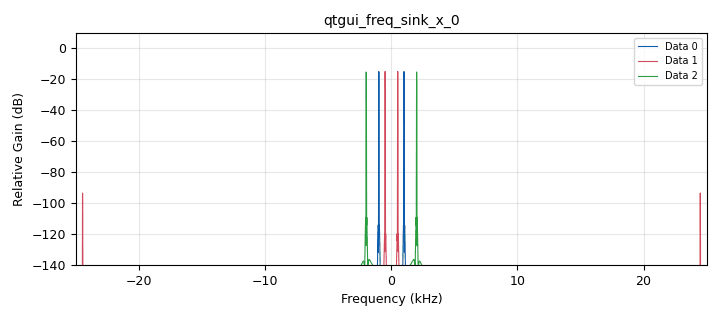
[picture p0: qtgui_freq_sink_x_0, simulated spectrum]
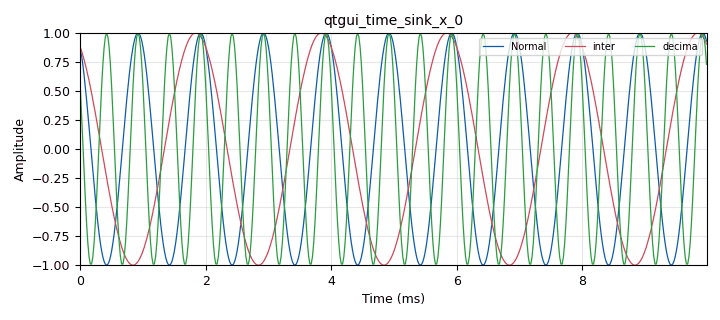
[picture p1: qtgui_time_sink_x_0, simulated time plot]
options:
  parameters:
    author: Elian Calderon - Michael
    copyright: Uis
    description: sgteheaheahetjarhr cambiar
    generate_options: qt_gui
    id: Practica1_Parte2
    output_language: python
    title: Diezmado e Interpolado
  states: {}

blocks:
- name: samp_rate
  id: variable
  parameters:
    value: '50000'
  states: {}
- name: analog_sig_source_x_0
  id: analog_sig_source_x
  parameters:
    amp: '1'
    freq: '1000'
    offset: '0'
    phase: '0'
    samp_rate: samp_rate
    type: float
    waveform: analog.GR_COS_WAVE
  states: {}
- name: analog_sig_source_x_0_0
  id: analog_sig_source_x
  parameters:
    amp: '1'
    freq: '1000'
    offset: '0'
    phase: '0'
    samp_rate: samp_rate
    type: float
    waveform: analog.GR_COS_WAVE
  states: {}
- name: analog_sig_source_x_0_0_0
  id: analog_sig_source_x
  parameters:
    amp: '1'
    freq: '1000'
    offset: '0'
    phase: '0'
    samp_rate: samp_rate
    type: float
    waveform: analog.GR_COS_WAVE
  states: {}
- name: blocks_throttle_0
  id: blocks_throttle
  parameters:
    samples_per_second: samp_rate
    type: float
  states: {}
- name: qtgui_freq_sink_x_0
  id: qtgui_freq_sink_x
  parameters:
    bw: samp_rate
    fc: '0'
    fftsize: 1024*8
    nconnections: '3'
    type: float
    wintype: firdes.WIN_BLACKMAN_hARRIS
  states: {}
- name: qtgui_time_sink_x_0
  id: qtgui_time_sink_x
  parameters:
    grid: 'True'
    label1: Normal
    label2: inter
    label3: decima
    nconnections: '3'
    size: '500'
    srate: samp_rate
    style1: '2'
    style2: '4'
    type: float
  states: {}
- name: rational_resampler_xxx_0
  id: rational_resampler_xxx
  parameters:
    decim: '1'
    fbw: '.1'
    interp: '2'
    taps: ''
    type: fff
  states: {}
- name: rational_resampler_xxx_0_0
  id: rational_resampler_xxx
  parameters:
    decim: '2'
    fbw: '0.1'
    interp: '1'
    taps: ''
    type: fff
  states: {}
- name: rational_resampler_xxx_0_0_0
  id: rational_resampler_xxx
  parameters:
    decim: '1'
    fbw: '0.1'
    interp: '1'
    taps: ''
    type: fff
  states: {}

connections:
- [analog_sig_source_x_0, '0', blocks_throttle_0, '0']
- [analog_sig_source_x_0_0, '0', rational_resampler_xxx_0, '0']
- [analog_sig_source_x_0_0_0, '0', rational_resampler_xxx_0_0, '0']
- [blocks_throttle_0, '0', rational_resampler_xxx_0_0_0, '0']
- [rational_resampler_xxx_0, '0', qtgui_freq_sink_x_0, '1']
- [rational_resampler_xxx_0, '0', qtgui_time_sink_x_0, '1']
- [rational_resampler_xxx_0_0, '0', qtgui_freq_sink_x_0, '2']
- [rational_resampler_xxx_0_0, '0', qtgui_time_sink_x_0, '2']
- [rational_resampler_xxx_0_0_0, '0', qtgui_freq_sink_x_0, '0']
- [rational_resampler_xxx_0_0_0, '0', qtgui_time_sink_x_0, '0']

metadata:
  file_format: 1
